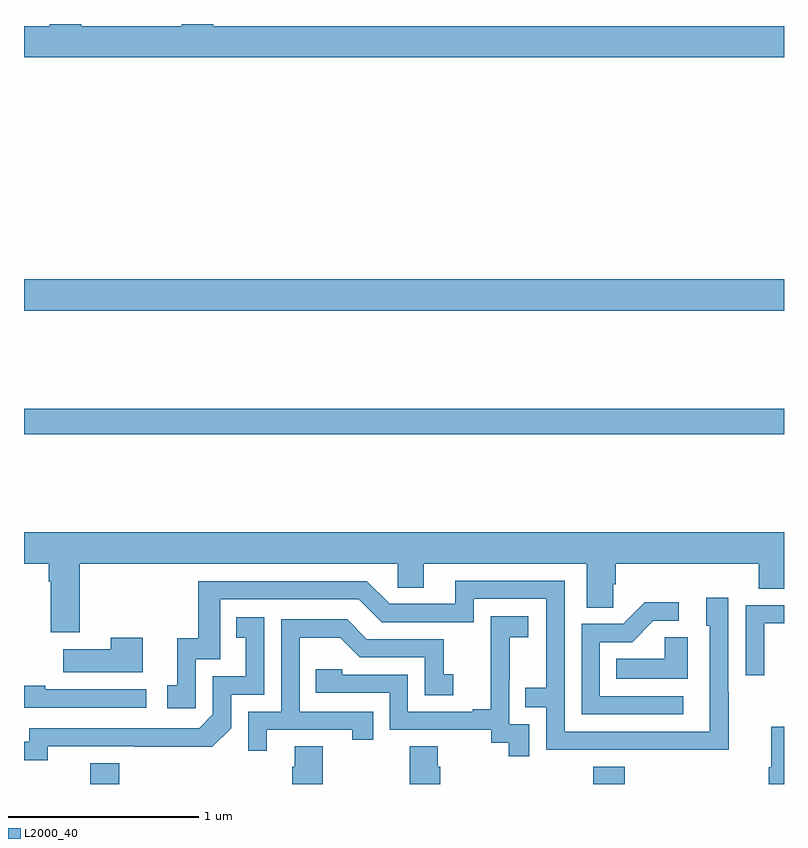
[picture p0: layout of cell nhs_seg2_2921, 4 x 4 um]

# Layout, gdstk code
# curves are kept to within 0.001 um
import gdstk
lib = gdstk.Library(unit=1e-6, precision=1e-09)
def R(c, l, rs):  # rectangles x0, y0, x1, y1
    for r in rs: c.add(gdstk.rectangle(r[:2], r[2:], *l))
def P(c, l, *ps):  # polygons
    for p in ps: c.add(gdstk.Polygon(p, *l))
L2000_40 = (2000, 40)

nhs_seg2_2921 = lib.new_cell('nhs_seg2_2921')
R(nhs_seg2_2921, L2000_40, [(263.348,655.8,263.501,655.909), (265.997,655.8,266.162,655.891), (263,657.64,267,657.776), (263,658.292,267,658.456)])
P(nhs_seg2_2921, L2000_40, [(267,659.788),(263.996,659.788),(263.996,659.8),(263.831,659.8),(263.831,659.788),(263.3,659.788),(263.3,659.8),(263.135,659.8),(263.135,659.788),(263,659.788),(263,659.624),(267,659.624)],
  [(263.294,656.96),(264.966,656.96),(264.966,656.833),(265.105,656.833),(265.105,656.96),(265.961,656.96),(265.961,656.728),(266.1,656.728),(266.1,656.851),(266.114,656.851),(266.114,656.96),(266.867,656.96),(266.867,656.827),(267,656.827),(267,657.124),(263,657.124),(263,656.96),(263.129,656.96),(263.129,656.864),(263.141,656.864),(263.141,656.598),(263.294,656.598)],
  [(266.709,656.285),(266.706,656.285),(266.706,656.779),(266.591,656.779),(266.591,656.634),(266.61,656.634),(266.61,656.076),(265.845,656.076),(265.845,656.871),(265.271,656.871),(265.271,656.748),(264.924,656.748),(264.804,656.868),(263.917,656.868),(263.917,656.566),(263.807,656.566),(263.807,656.319),(263.754,656.319),(263.754,656.199),(263.904,656.199),(263.904,656.457),(264.033,656.457),(264.033,656.772),(264.762,656.772),(264.882,656.652),(265.368,656.652),(265.368,656.775),(265.749,656.775),(265.749,656.306),(265.639,656.306),(265.639,656.205),(265.749,656.205),(265.749,655.98),(266.709,655.979)],
  [(266.47,656.262),(266.031,656.262),(266.031,656.547),(266.2,656.547),(266.311,656.658),(266.446,656.658),(266.446,656.756),(266.267,656.756),(266.154,656.643),(265.935,656.643),(265.935,656.166),(266.47,656.166)],
  [(266.895,656.646),(267,656.646),(267,656.742),(266.799,656.742),(266.799,656.373),(266.895,656.373)],
  [(265.659,656.115),(265.554,656.115),(265.554,656.345),(265.556,656.345),(265.556,656.573),(265.654,656.573),(265.654,656.683),(265.456,656.683),(265.456,656.477),(265.457,656.477),(265.457,656.194),(265.361,656.194),(265.361,656.181),(265.02,656.181),(265.02,656.376),(264.675,656.376),(264.675,656.403),(264.535,656.403),(264.535,656.28),(264.924,656.28),(264.924,656.085),(265.458,656.085),(265.458,656.017),(265.551,656.017),(265.551,655.947),(265.659,655.947)],
  [(263.124,655.998),(263.992,655.997),(264.09,656.094),(264.09,656.271),(264.264,656.271),(264.264,656.677),(264.118,656.677),(264.118,656.571),(264.167,656.571),(264.167,656.367),(263.994,656.367),(263.994,656.166),(263.922,656.094),(263.028,656.094),(263.028,656.022),(263,656.022),(263,655.925),(263.124,655.925)],
  [(264.277,656.085),(264.728,656.085),(264.728,656.034),(264.839,656.034),(264.839,656.181),(264.45,656.181),(264.45,656.57),(264.664,656.57),(264.768,656.466),(265.11,656.466),(265.11,656.268),(265.258,656.268),(265.258,656.377),(265.209,656.377),(265.209,656.562),(264.805,656.562),(264.7,656.667),(264.354,656.667),(264.354,656.181),(264.18,656.181),(264.18,655.974),(264.277,655.974)],
  [(266.494,656.573),(266.373,656.573),(266.373,656.458),(266.116,656.458),(266.116,656.354),(266.494,656.354)],
  [(263.626,656.569),(263.456,656.569),(263.456,656.509),(263.207,656.509),(263.207,656.387),(263.626,656.387)],
  [(263.644,656.298),(263.111,656.298),(263.111,656.318),(263,656.318),(263,656.202),(263.644,656.202)],
  [(267,656.101),(266.933,656.101),(266.933,655.888),(266.921,655.888),(266.921,655.8),(267,655.8)],
  [(265.19,655.89),(265.177,655.89),(265.177,656),(265.03,656),(265.03,655.8),(265.19,655.8)],
  [(264.573,656),(264.425,656),(264.425,655.89),(264.413,655.89),(264.413,655.8),(264.573,655.8)])

lib.write_gds('nhs_seg2_2921.gds')
